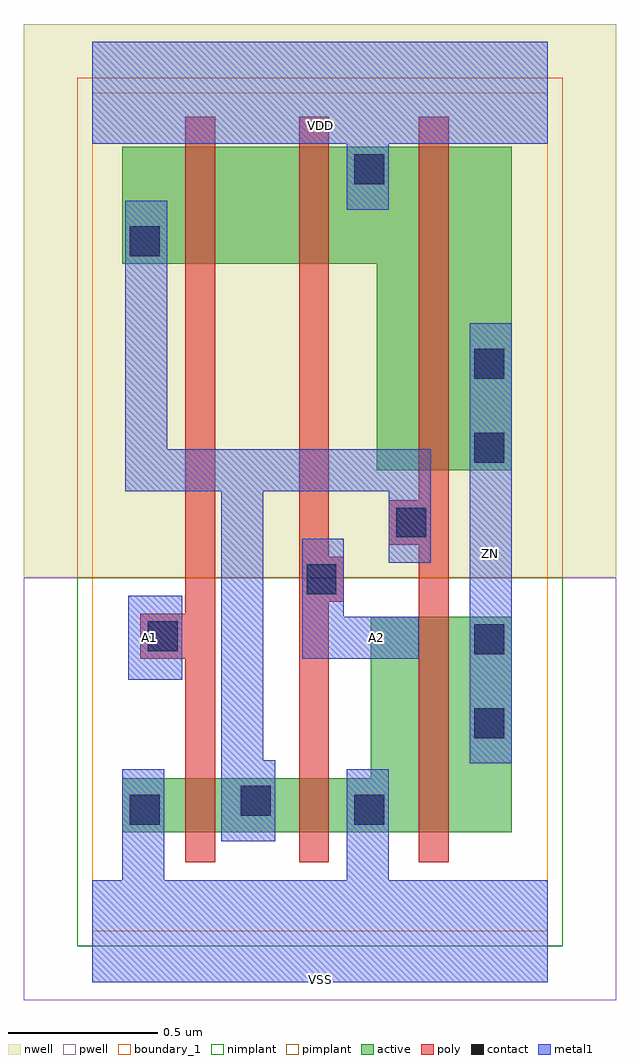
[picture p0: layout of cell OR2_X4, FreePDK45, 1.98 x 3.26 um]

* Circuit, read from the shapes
.subckt OR2_X4 A1 A2 VDD VSS ZN
M1 n1 A1 VSS VSUBS nfet w=0.18u l=0.1u
M2 VSS A2 n1 VSUBS nfet w=0.18u l=0.1u
M3 ZN n1 VSS VSUBS nfet w=0.72u l=0.1u
M4 n2 A1 n1 n3 pfet w=0.39u l=0.1u
M5 VDD A2 n2 n3 pfet w=0.39u l=0.1u
M6 ZN n1 VDD n3 pfet w=1.08u l=0.1u
.ends

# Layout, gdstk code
import gdstk
lib = gdstk.Library(unit=1e-6, precision=1e-09)
def R(c, l, rs):  # rectangles x0, y0, x1, y1
    for r in rs: c.add(gdstk.rectangle(r[:2], r[2:], *l))
def P(c, l, *ps):  # polygons
    for p in ps: c.add(gdstk.Polygon(p, *l))
active = (1, 0)
pwell = (2, 0)
nwell = (3, 0)
nimplant = (4, 0)
pimplant = (5, 0)
poly = (9, 0)
contact = (10, 0)
metal1 = (11, 0)
boundary_1 = (235, 1)

or2_x4 = lib.new_cell('OR2_X4')
P(or2_x4, active, [(0.1,2.23),(0.95,2.23),(0.95,1.54),(1.4,1.54),(1.4,2.62),(0.1,2.62)],
  [(0.1,0.33),(1.4,0.33),(1.4,1.05),(0.93,1.05),(0.93,0.51),(0.1,0.51)])
R(or2_x4, pwell, [(-0.23,-0.23,1.75,1.18)])
R(or2_x4, nwell, [(-0.23,1.18,1.75,3.03)])
R(or2_x4, nimplant, [(-0.05,-0.05,1.57,1.18)])
R(or2_x4, pimplant, [(-0.05,1.18,1.57,2.85)])
P(or2_x4, poly, [(0.99,1.29),(1.09,1.29),(1.09,0.23),(1.19,0.23),(1.19,2.72),(1.09,2.72),(1.09,1.44),(0.99,1.44)],
  [(0.69,0.23),(0.79,0.23),(0.79,1.1),(0.84,1.1),(0.84,1.25),(0.79,1.25),(0.79,2.72),(0.69,2.72)],
  [(0.16,0.91),(0.31,0.91),(0.31,0.23),(0.41,0.23),(0.41,2.72),(0.31,2.72),(0.31,1.06),(0.16,1.06)])
R(or2_x4, contact, [(0.125,0.355,0.225,0.455), (0.875,0.355,0.975,0.455), (0.495,0.385,0.595,0.485), (1.275,0.645,1.375,0.745), (1.275,0.925,1.375,1.025), (0.185,0.935,0.285,1.035), (0.715,1.125,0.815,1.225), (1.015,1.315,1.115,1.415), (1.275,1.565,1.375,1.665), (1.275,1.845,1.375,1.945), (0.125,2.255,0.225,2.355), (0.875,2.495,0.975,2.595)])
R(or2_x4, metal1, [(1.26,0.56,1.4,2.03), (1.26,0.56,1.4,2.03), (0.12,0.84,0.3,1.12), (0.12,0.84,0.3,1.12)])
P(or2_x4, metal1, [(0.7,0.91),(1.09,0.91),(1.09,1.05),(0.84,1.05),(0.84,1.31),(0.7,1.31)],
  [(0,-0.17),(1.52,-0.17),(1.52,0.17),(0.99,0.17),(0.99,0.54),(0.85,0.54),(0.85,0.17),(0.24,0.17),(0.24,0.54),(0.1,0.54),(0.1,0.17),(0,0.17)],
  [(0,2.63),(0.85,2.63),(0.85,2.41),(0.99,2.41),(0.99,2.63),(1.52,2.63),(1.52,2.97),(0,2.97)],
  [(0,2.63),(0.85,2.63),(0.85,2.41),(0.99,2.41),(0.99,2.63),(1.52,2.63),(1.52,2.97),(0,2.97)],
  [(0,-0.17),(1.52,-0.17),(1.52,0.17),(0.99,0.17),(0.99,0.54),(0.85,0.54),(0.85,0.17),(0.24,0.17),(0.24,0.54),(0.1,0.54),(0.1,0.17),(0,0.17)],
  [(0.57,1.47),(0.99,1.47),(0.99,1.23),(1.13,1.23),(1.13,1.61),(0.25,1.61),(0.25,2.44),(0.11,2.44),(0.11,1.47),(0.43,1.47),(0.43,0.3),(0.61,0.3),(0.61,0.57),(0.57,0.57)],
  [(0.7,0.91),(1.09,0.91),(1.09,1.05),(0.84,1.05),(0.84,1.31),(0.7,1.31)])
R(or2_x4, boundary_1, [(0,0,1.52,2.8)])
or2_x4.add(gdstk.Label('ZN', (1.33,1.26), layer=11, texttype=0))
or2_x4.add(gdstk.Label('VSS', (0.76,-0.16), layer=11, texttype=0))
or2_x4.add(gdstk.Label('VDD', (0.76,2.69), layer=11, texttype=0))
or2_x4.add(gdstk.Label('A2', (0.95,0.98), layer=11, texttype=0))
or2_x4.add(gdstk.Label('A1', (0.19,0.98), layer=11, texttype=0))

lib.write_gds('OR2_X4.gds')
